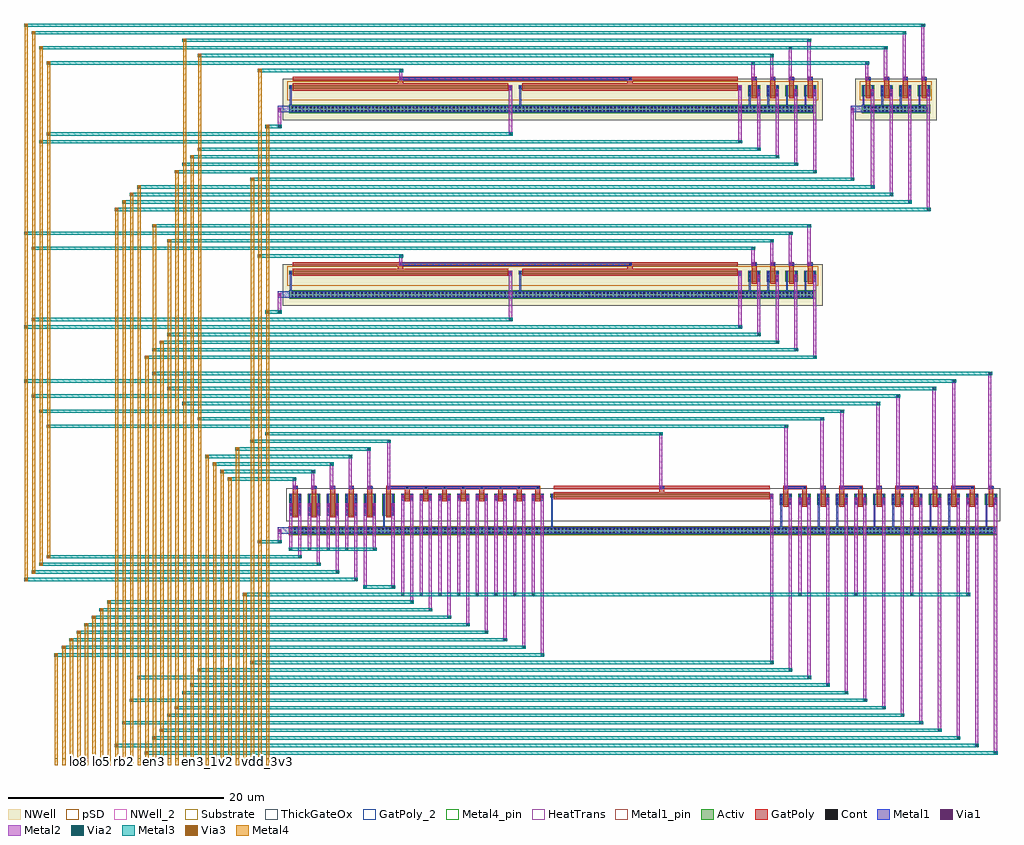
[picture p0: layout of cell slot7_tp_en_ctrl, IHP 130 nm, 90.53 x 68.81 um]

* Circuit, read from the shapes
.subckt slot7_tp_en_ctrl en0 en0_1v2 en0_b en1 en1_1v2 en1_b en2 en2_1v2 en2_b en3 en3_1v2 en3_b enable lo10 lo11 lo4 lo5 lo6 lo7 lo8 lo9 rb0 rb1 rb2 rb3 vdd_1v2 vdd_3v3 vss_1v2 vss_3v3
XM1 n1 en0_1v2 n2 vss_3v3 sg13_hv_nmos w=2u l=0.45u
XM2 n3 en1_1v2 n2 vss_3v3 sg13_hv_nmos w=2u l=0.45u
XM3 n4 en2_1v2 n2 vss_3v3 sg13_hv_nmos w=2u l=0.45u
XM4 n5 en3_1v2 n2 vss_3v3 sg13_hv_nmos w=2u l=0.45u
XM5 n2 enable n6 vss_3v3 sg13_hv_nmos w=2u l=0.45u
XM6 n6 vdd_1v2 vss_3v3 vss_3v3 sg13_hv_nmos w=2u l=0.45u
XM7 lo4 vdd_1v2 vss_1v2 vss_3v3 sg13_hv_nmos w=0.5u l=0.45u
XM8 lo5 vdd_1v2 vss_1v2 vss_3v3 sg13_hv_nmos w=0.5u l=0.45u
XM9 lo6 vdd_1v2 vss_1v2 vss_3v3 sg13_hv_nmos w=0.5u l=0.45u
XM10 lo7 vdd_1v2 vss_1v2 vss_3v3 sg13_hv_nmos w=0.5u l=0.45u
XM11 lo8 vdd_1v2 vss_1v2 vss_3v3 sg13_hv_nmos w=0.5u l=0.45u
XM12 lo9 vdd_1v2 vss_1v2 vss_3v3 sg13_hv_nmos w=0.5u l=0.45u
XM13 lo10 vdd_1v2 vss_1v2 vss_3v3 sg13_hv_nmos w=0.5u l=0.45u
XM14 lo11 vdd_1v2 vss_1v2 vss_3v3 sg13_hv_nmos w=0.5u l=0.45u
XM15 vdd_1v2 vdd_3v3 vss_3v3 vss_3v3 sg13_hv_nmos w=0.3u l=20u
XM16 en0 n1 vss_3v3 vss_3v3 sg13_hv_nmos w=1u l=0.45u
XM17 rb0 n1 vss_1v2 vss_3v3 sg13_hv_nmos w=1u l=0.45u
XM18 en0_b en0 vss_3v3 vss_3v3 sg13_hv_nmos w=1u l=0.45u
XM19 en1 n3 vss_3v3 vss_3v3 sg13_hv_nmos w=1u l=0.45u
XM20 rb1 n3 vss_1v2 vss_3v3 sg13_hv_nmos w=1u l=0.45u
XM21 en1_b en1 vss_3v3 vss_3v3 sg13_hv_nmos w=1u l=0.45u
XM22 en2 n4 vss_3v3 vss_3v3 sg13_hv_nmos w=1u l=0.45u
XM23 rb2 n4 vss_1v2 vss_3v3 sg13_hv_nmos w=1u l=0.45u
XM24 en2_b en2 vss_3v3 vss_3v3 sg13_hv_nmos w=1u l=0.45u
XM25 en3 n5 vss_3v3 vss_3v3 sg13_hv_nmos w=1u l=0.45u
XM26 rb3 n5 vss_1v2 vss_3v3 sg13_hv_nmos w=1u l=0.45u
XM27 en3_b en3 vss_3v3 vss_3v3 sg13_hv_nmos w=1u l=0.45u
XM28 n4 vss_3v3 vdd_3v3 vdd_3v3 sg13_hv_pmos w=0.3u l=20u
XM29 n1 vss_3v3 vdd_3v3 vdd_3v3 sg13_hv_pmos w=0.3u l=20u
XM30 n5 vss_3v3 vdd_3v3 vdd_3v3 sg13_hv_pmos w=0.3u l=20u
XM31 n3 vss_3v3 vdd_3v3 vdd_3v3 sg13_hv_pmos w=0.3u l=20u
XM32 en2 n4 vdd_3v3 vdd_3v3 sg13_hv_pmos w=1u l=0.45u
XM33 en0 n1 vdd_3v3 vdd_3v3 sg13_hv_pmos w=1u l=0.45u
XM34 en2_b en2 vdd_3v3 vdd_3v3 sg13_hv_pmos w=1u l=0.45u
XM35 en0_b en0 vdd_3v3 vdd_3v3 sg13_hv_pmos w=1u l=0.45u
XM36 en3 n5 vdd_3v3 vdd_3v3 sg13_hv_pmos w=1u l=0.45u
XM37 en1 n3 vdd_3v3 vdd_3v3 sg13_hv_pmos w=1u l=0.45u
XM38 en3_b en3 vdd_3v3 vdd_3v3 sg13_hv_pmos w=1u l=0.45u
XM39 en1_b en1 vdd_3v3 vdd_3v3 sg13_hv_pmos w=1u l=0.45u
XM40 rb0 n1 vdd_1v2 vdd_1v2 sg13_hv_pmos w=1u l=0.45u
XM41 rb1 n3 vdd_1v2 vdd_1v2 sg13_hv_pmos w=1u l=0.45u
XM42 rb2 n4 vdd_1v2 vdd_1v2 sg13_hv_pmos w=1u l=0.45u
XM43 rb3 n5 vdd_1v2 vdd_1v2 sg13_hv_pmos w=1u l=0.45u
.ends

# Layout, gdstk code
import gdstk
lib = gdstk.Library(unit=1e-6, precision=1e-09)
def R(c, l, rs):  # rectangles x0, y0, x1, y1
    for r in rs: c.add(gdstk.rectangle(r[:2], r[2:], *l))
def A(c, l, x, y, w, h, nx, ny, dx, dy):  # array of equal rectangles
    R(c, l, [(x+i*dx, y+j*dy, x+i*dx+w, y+j*dy+h) for i in range(nx) for j in range(ny)])
Activ = (1, 0)
GatPoly = (5, 0)
GatPoly_2 = (5, 2)
Cont = (6, 0)
Metal1 = (8, 0)
Metal1_pin = (8, 2)
Metal2 = (10, 0)
pSD = (14, 0)
Via1 = (19, 0)
Via2 = (29, 0)
Metal3 = (30, 0)
NWell = (31, 0)
NWell_2 = (31, 2)
Substrate = (40, 0)
ThickGateOx = (44, 0)
Via3 = (49, 0)
Metal4 = (50, 0)
Metal4_pin = (50, 2)
HeatTrans = (51, 0)

slot7_pmoshv = lib.new_cell('slot7_pmosHV')
R(slot7_pmoshv, Activ, [(0,0,0.3,0.3), (0,0,20.68,0.3), (20.38,0,20.68,0.3)])
R(slot7_pmoshv, GatPoly, [(0.34,-0.18,20.34,0.48)])
R(slot7_pmoshv, GatPoly_2, [(0.34,-0.18,20.34,0.48)])
R(slot7_pmoshv, Cont, [(0.07,0.07,0.23,0.23), (20.45,0.07,20.61,0.23)])
R(slot7_pmoshv, Metal1, [(0.07,0,0.23,0.3), (20.45,0,20.61,0.3)])
R(slot7_pmoshv, Metal1_pin, [(0.07,0,0.23,0.3), (20.45,0,20.61,0.3)])
R(slot7_pmoshv, pSD, [(-0.18,-0.4,20.86,0.7)])
R(slot7_pmoshv, NWell, [(-0.62,-0.62,21.3,0.92)])
R(slot7_pmoshv, ThickGateOx, [(-0.62,-0.62,21.3,0.92)])
R(slot7_pmoshv, HeatTrans, [(0.34,-0.18,20.34,0.48)])
slot7_pmoshv.add(gdstk.Label('pmosHV', (10.34,0.15), layer=63, texttype=0))
slot7_pmoshv.add(gdstk.Label('pmos', (10.34,0.15), layer=51, texttype=0))

slot7_pmoshv_1 = lib.new_cell('slot7_pmosHV_1')
R(slot7_pmoshv_1, Activ, [(0,0,0.3,0.3), (0,0,1.13,1), (0.83,0,1.13,0.3)])
R(slot7_pmoshv_1, GatPoly, [(0.34,-0.18,0.79,1.18)])
R(slot7_pmoshv_1, GatPoly_2, [(0.34,-0.18,0.79,1.18)])
A(slot7_pmoshv_1, Cont, 0.07, 0.07, 0.16, 0.16, 1, 3, 0, 0.35)
A(slot7_pmoshv_1, Cont, 0.9, 0.07, 0.16, 0.16, 1, 3, 0, 0.35)
R(slot7_pmoshv_1, Metal1, [(0.07,0,0.23,1), (0.9,0,1.06,1)])
R(slot7_pmoshv_1, Metal1_pin, [(0.07,0,0.23,1), (0.9,0,1.06,1)])
R(slot7_pmoshv_1, pSD, [(-0.18,-0.4,1.31,1.4)])
R(slot7_pmoshv_1, NWell, [(-0.62,-0.62,1.75,1.62)])
R(slot7_pmoshv_1, ThickGateOx, [(-0.62,-0.62,1.75,1.62)])
R(slot7_pmoshv_1, HeatTrans, [(0.34,-0.18,0.79,1.18)])
slot7_pmoshv_1.add(gdstk.Label('pmosHV', (0.565,0.5), layer=63, texttype=0))
slot7_pmoshv_1.add(gdstk.Label('pmos', (0.565,0.5), layer=51, texttype=0))

slot7_ntap1 = lib.new_cell('slot7_ntap1')
R(slot7_ntap1, Activ, [(0,0,48.88,0.78)])
A(slot7_ntap1, Cont, 0.22, 0.14, 0.16, 0.16, 143, 2, 0.34, 0.34)
R(slot7_ntap1, Metal1, [(0.22,0.09,48.66,0.69)])
R(slot7_ntap1, Metal1_pin, [(0.22,0.09,48.66,0.69), (0.22,0.14,48.66,0.64)])
R(slot7_ntap1, NWell, [(-0.24,-0.24,49.12,1.02), (0,0,48.88,0.78)])
R(slot7_ntap1, NWell_2, [(0,0,48.88,0.78)])
slot7_ntap1.add(gdstk.Label('well', (24.44,0.01), layer=31, texttype=0))
slot7_ntap1.add(gdstk.Label('well', (24.44,0.01), layer=63, texttype=0))

slot7_tp_row_pa = lib.new_cell('slot7_tp_row_pa')
A(slot7_tp_row_pa, GatPoly, 42.9, 1, 0.45, 0.43, 4, 1, 1.73, 0)
A(slot7_tp_row_pa, GatPoly, 42.9, 1.42, 0.45, 0.36, 4, 1, 1.73, 0)
R(slot7_tp_row_pa, GatPoly, [(10.09,1,10.59,1.43), (31.37,1,31.87,1.43), (0.34,1.42,41.62,1.78)])
A(slot7_tp_row_pa, Cont, 43.045, 1.52, 0.16, 0.16, 4, 1, 1.73, 0)
R(slot7_tp_row_pa, Cont, [(10.26,1.52,10.42,1.68), (31.54,1.52,31.7,1.68)])
A(slot7_tp_row_pa, Metal1, 42.63, -1.01, 0.16, 1.06, 4, 1, 1.73, 0)
A(slot7_tp_row_pa, Metal1, 42.875, 1.47, 0.5, 0.26, 4, 1, 1.73, 0)
R(slot7_tp_row_pa, Metal1, [(0.07,-1.51,47.98,-0.91), (0.07,-1.01,0.23,0.75), (21.35,-1.01,21.51,0.75), (0.07,0.55,0.23,1), (20.45,0.55,20.61,1), (21.35,0.55,21.51,1), (41.73,0.55,41.89,1), (10.21,1.47,31.75,1.73)])
R(slot7_tp_row_pa, pSD, [(-0.18,-0.4,49.06,1.4)])
R(slot7_tp_row_pa, NWell, [(-0.62,-2.22,49.5,1.62)])
R(slot7_tp_row_pa, ThickGateOx, [(-0.62,-2.22,49.5,1.62)])
slot7_tp_row_pa.add(gdstk.Reference(slot7_pmoshv, (0,0.7)))
slot7_tp_row_pa.add(gdstk.Reference(slot7_pmoshv, (21.28,0.7)))
slot7_tp_row_pa.add(gdstk.Reference(slot7_pmoshv_1, (42.56,0)))
slot7_tp_row_pa.add(gdstk.Reference(slot7_pmoshv_1, (44.29,0)))
slot7_tp_row_pa.add(gdstk.Reference(slot7_pmoshv_1, (46.02,0)))
slot7_tp_row_pa.add(gdstk.Reference(slot7_pmoshv_1, (47.75,0)))
slot7_tp_row_pa.add(gdstk.Reference(slot7_ntap1, (0,-1.6)))
slot7_tp_row_pa.add(gdstk.Label('PU0', (0,0.85), layer=63, texttype=0))
slot7_tp_row_pa.add(gdstk.Label('PU1', (21.28,0.85), layer=63, texttype=0))
slot7_tp_row_pa.add(gdstk.Label('PA0', (42.56,0.5), layer=63, texttype=0))
slot7_tp_row_pa.add(gdstk.Label('PB0', (44.29,0.5), layer=63, texttype=0))
slot7_tp_row_pa.add(gdstk.Label('PA1', (46.02,0.5), layer=63, texttype=0))
slot7_tp_row_pa.add(gdstk.Label('PB1', (47.75,0.5), layer=63, texttype=0))

slot7_ntap1_1 = lib.new_cell('slot7_ntap1_1')
R(slot7_ntap1_1, Activ, [(0,0,6.32,0.78)])
A(slot7_ntap1_1, Cont, 0.19, 0.14, 0.16, 0.16, 18, 2, 0.34, 0.34)
R(slot7_ntap1_1, Metal1, [(0.19,0.09,6.13,0.69)])
R(slot7_ntap1_1, Metal1_pin, [(0.19,0.09,6.13,0.69), (0.19,0.14,6.13,0.64)])
R(slot7_ntap1_1, NWell, [(-0.24,-0.24,6.56,1.02), (0,0,6.32,0.78)])
R(slot7_ntap1_1, NWell_2, [(0,0,6.32,0.78)])
slot7_ntap1_1.add(gdstk.Label('well', (3.16,0.01), layer=31, texttype=0))
slot7_ntap1_1.add(gdstk.Label('well', (3.16,0.01), layer=63, texttype=0))

slot7_tp_row_pr = lib.new_cell('slot7_tp_row_pr')
A(slot7_tp_row_pr, GatPoly, 0.34, 1, 0.45, 0.43, 4, 1, 1.73, 0)
A(slot7_tp_row_pr, GatPoly, 0.34, 1.42, 0.45, 0.36, 4, 1, 1.73, 0)
A(slot7_tp_row_pr, Cont, 0.485, 1.52, 0.16, 0.16, 4, 1, 1.73, 0)
A(slot7_tp_row_pr, Metal1, 0.07, -1.01, 0.16, 1.06, 4, 1, 1.73, 0)
A(slot7_tp_row_pr, Metal1, 0.315, 1.47, 0.5, 0.26, 4, 1, 1.73, 0)
R(slot7_tp_row_pr, Metal1, [(0.07,-1.51,5.42,-0.91)])
R(slot7_tp_row_pr, pSD, [(-0.18,-0.4,6.5,1.4)])
R(slot7_tp_row_pr, NWell, [(-0.62,-2.22,6.94,1.62)])
R(slot7_tp_row_pr, ThickGateOx, [(-0.62,-2.22,6.94,1.62)])
slot7_tp_row_pr.add(gdstk.Reference(slot7_pmoshv_1, (0,0)))
slot7_tp_row_pr.add(gdstk.Reference(slot7_pmoshv_1, (1.73,0)))
slot7_tp_row_pr.add(gdstk.Reference(slot7_pmoshv_1, (3.46,0)))
slot7_tp_row_pr.add(gdstk.Reference(slot7_pmoshv_1, (5.19,0)))
slot7_tp_row_pr.add(gdstk.Reference(slot7_ntap1_1, (0,-1.6)))
slot7_tp_row_pr.add(gdstk.Label('PR0', (0,0.5), layer=63, texttype=0))
slot7_tp_row_pr.add(gdstk.Label('PR1', (1.73,0.5), layer=63, texttype=0))
slot7_tp_row_pr.add(gdstk.Label('PR2', (3.46,0.5), layer=63, texttype=0))
slot7_tp_row_pr.add(gdstk.Label('PR3', (5.19,0.5), layer=63, texttype=0))

slot7_tp_row_pb = lib.new_cell('slot7_tp_row_pb')
A(slot7_tp_row_pb, GatPoly, 42.9, 1, 0.45, 0.43, 4, 1, 1.73, 0)
A(slot7_tp_row_pb, GatPoly, 42.9, 1.42, 0.45, 0.36, 4, 1, 1.73, 0)
R(slot7_tp_row_pb, GatPoly, [(10.09,1,10.59,1.43), (31.37,1,31.87,1.43), (0.34,1.42,41.62,1.78)])
A(slot7_tp_row_pb, Cont, 43.045, 1.52, 0.16, 0.16, 4, 1, 1.73, 0)
R(slot7_tp_row_pb, Cont, [(10.26,1.52,10.42,1.68), (31.54,1.52,31.7,1.68)])
A(slot7_tp_row_pb, Metal1, 42.63, -1.01, 0.16, 1.06, 4, 1, 1.73, 0)
A(slot7_tp_row_pb, Metal1, 42.875, 1.47, 0.5, 0.26, 4, 1, 1.73, 0)
R(slot7_tp_row_pb, Metal1, [(0.07,-1.51,47.98,-0.91), (0.07,-1.01,0.23,0.75), (21.35,-1.01,21.51,0.75), (0.07,0.55,0.23,1), (20.45,0.55,20.61,1), (21.35,0.55,21.51,1), (41.73,0.55,41.89,1), (10.21,1.47,31.75,1.73)])
R(slot7_tp_row_pb, pSD, [(-0.18,-0.4,49.06,1.4)])
R(slot7_tp_row_pb, NWell, [(-0.62,-2.22,49.5,1.62)])
R(slot7_tp_row_pb, ThickGateOx, [(-0.62,-2.22,49.5,1.62)])
slot7_tp_row_pb.add(gdstk.Reference(slot7_pmoshv, (0,0.7)))
slot7_tp_row_pb.add(gdstk.Reference(slot7_pmoshv, (21.28,0.7)))
slot7_tp_row_pb.add(gdstk.Reference(slot7_pmoshv_1, (42.56,0)))
slot7_tp_row_pb.add(gdstk.Reference(slot7_pmoshv_1, (44.29,0)))
slot7_tp_row_pb.add(gdstk.Reference(slot7_pmoshv_1, (46.02,0)))
slot7_tp_row_pb.add(gdstk.Reference(slot7_pmoshv_1, (47.75,0)))
slot7_tp_row_pb.add(gdstk.Reference(slot7_ntap1, (0,-1.6)))
slot7_tp_row_pb.add(gdstk.Label('PU2', (0,0.85), layer=63, texttype=0))
slot7_tp_row_pb.add(gdstk.Label('PU3', (21.28,0.85), layer=63, texttype=0))
slot7_tp_row_pb.add(gdstk.Label('PA2', (42.56,0.5), layer=63, texttype=0))
slot7_tp_row_pb.add(gdstk.Label('PB2', (44.29,0.5), layer=63, texttype=0))
slot7_tp_row_pb.add(gdstk.Label('PA3', (46.02,0.5), layer=63, texttype=0))
slot7_tp_row_pb.add(gdstk.Label('PB3', (47.75,0.5), layer=63, texttype=0))

slot7_nmoshv = lib.new_cell('slot7_nmosHV')
R(slot7_nmoshv, Activ, [(0,0,0.3,0.3), (0,0,1.13,2), (0.83,0,1.13,0.3)])
R(slot7_nmoshv, GatPoly, [(0.34,-0.18,0.79,2.18)])
R(slot7_nmoshv, GatPoly_2, [(0.34,-0.18,0.79,2.18)])
A(slot7_nmoshv, Cont, 0.07, 0.07, 0.16, 0.16, 1, 6, 0, 0.34)
A(slot7_nmoshv, Cont, 0.9, 0.07, 0.16, 0.16, 1, 6, 0, 0.34)
R(slot7_nmoshv, Metal1, [(0.07,0,0.23,2), (0.9,0,1.06,2)])
R(slot7_nmoshv, Metal1_pin, [(0.07,0,0.23,2), (0.9,0,1.06,2)])
R(slot7_nmoshv, ThickGateOx, [(-0.27,-0.52,1.4,2.52)])
R(slot7_nmoshv, HeatTrans, [(0.34,-0.18,0.79,2.18)])
slot7_nmoshv.add(gdstk.Label('nmosHV', (0.565,1), layer=63, texttype=0))
slot7_nmoshv.add(gdstk.Label('nmosHV', (0.565,1), layer=51, texttype=0))

slot7_nmoshv_1 = lib.new_cell('slot7_nmosHV_1')
R(slot7_nmoshv_1, Activ, [(0,0,0.3,0.3), (0,0,1.13,0.5), (0.83,0,1.13,0.3)])
R(slot7_nmoshv_1, GatPoly, [(0.34,-0.18,0.79,0.68)])
R(slot7_nmoshv_1, GatPoly_2, [(0.34,-0.18,0.79,0.68)])
R(slot7_nmoshv_1, Cont, [(0.07,0.17,0.23,0.33), (0.9,0.17,1.06,0.33)])
R(slot7_nmoshv_1, Metal1, [(0.07,0,0.23,0.5), (0.9,0,1.06,0.5)])
R(slot7_nmoshv_1, Metal1_pin, [(0.07,0,0.23,0.5), (0.9,0,1.06,0.5)])
R(slot7_nmoshv_1, ThickGateOx, [(-0.27,-0.52,1.4,1.02)])
R(slot7_nmoshv_1, HeatTrans, [(0.34,-0.18,0.79,0.68)])
slot7_nmoshv_1.add(gdstk.Label('nmosHV', (0.565,0.25), layer=63, texttype=0))
slot7_nmoshv_1.add(gdstk.Label('nmosHV', (0.565,0.25), layer=51, texttype=0))

slot7_nmoshv_2 = lib.new_cell('slot7_nmosHV_2')
R(slot7_nmoshv_2, Activ, [(0,0,0.3,0.3), (0,0,20.68,0.3), (20.38,0,20.68,0.3)])
R(slot7_nmoshv_2, GatPoly, [(0.34,-0.18,20.34,0.48)])
R(slot7_nmoshv_2, GatPoly_2, [(0.34,-0.18,20.34,0.48)])
R(slot7_nmoshv_2, Cont, [(0.07,0.07,0.23,0.23), (20.45,0.07,20.61,0.23)])
R(slot7_nmoshv_2, Metal1, [(0.07,0,0.23,0.3), (20.45,0,20.61,0.3)])
R(slot7_nmoshv_2, Metal1_pin, [(0.07,0,0.23,0.3), (20.45,0,20.61,0.3)])
R(slot7_nmoshv_2, ThickGateOx, [(-0.27,-0.52,20.95,0.82)])
R(slot7_nmoshv_2, HeatTrans, [(0.34,-0.18,20.34,0.48)])
slot7_nmoshv_2.add(gdstk.Label('nmosHV', (10.34,0.15), layer=63, texttype=0))
slot7_nmoshv_2.add(gdstk.Label('nmosHV', (10.34,0.15), layer=51, texttype=0))

slot7_nmoshv_3 = lib.new_cell('slot7_nmosHV_3')
R(slot7_nmoshv_3, Activ, [(0,0,0.3,0.3), (0,0,1.13,1), (0.83,0,1.13,0.3)])
R(slot7_nmoshv_3, GatPoly, [(0.34,-0.18,0.79,1.18)])
R(slot7_nmoshv_3, GatPoly_2, [(0.34,-0.18,0.79,1.18)])
A(slot7_nmoshv_3, Cont, 0.07, 0.07, 0.16, 0.16, 1, 3, 0, 0.35)
A(slot7_nmoshv_3, Cont, 0.9, 0.07, 0.16, 0.16, 1, 3, 0, 0.35)
R(slot7_nmoshv_3, Metal1, [(0.07,0,0.23,1), (0.9,0,1.06,1)])
R(slot7_nmoshv_3, Metal1_pin, [(0.07,0,0.23,1), (0.9,0,1.06,1)])
R(slot7_nmoshv_3, ThickGateOx, [(-0.27,-0.52,1.4,1.52)])
R(slot7_nmoshv_3, HeatTrans, [(0.34,-0.18,0.79,1.18)])
slot7_nmoshv_3.add(gdstk.Label('nmosHV', (0.565,0.5), layer=63, texttype=0))
slot7_nmoshv_3.add(gdstk.Label('nmosHV', (0.565,0.5), layer=51, texttype=0))

slot7_ptap1 = lib.new_cell('slot7_ptap1')
R(slot7_ptap1, Activ, [(0,0,65.66,0.78)])
A(slot7_ptap1, Cont, 0.11, 0.14, 0.16, 0.16, 193, 2, 0.34, 0.34)
R(slot7_ptap1, Metal1, [(0.11,0.09,65.55,0.69), (0.11,0.14,65.55,0.64)])
R(slot7_ptap1, Metal1_pin, [(0.11,0.14,65.55,0.64)])
R(slot7_ptap1, pSD, [(-0.03,-0.03,65.69,0.81)])
R(slot7_ptap1, Substrate, [(0,0,65.66,0.78)])
slot7_ptap1.add(gdstk.Label('sub!', (32.83,0.01), layer=63, texttype=0))

slot7_tp_row_n = lib.new_cell('slot7_tp_row_n')
A(slot7_tp_row_n, GatPoly, 0.34, 2, 0.45, 0.43, 14, 1, 1.73, 0)
A(slot7_tp_row_n, GatPoly, 45.84, 2, 0.45, 0.43, 12, 1, 1.73, 0)
A(slot7_tp_row_n, GatPoly, 0.34, 2.42, 0.45, 0.36, 5, 1, 1.73, 0)
A(slot7_tp_row_n, GatPoly, 45.84, 2.42, 2.18, 0.36, 4, 1, 5.19, 0)
A(slot7_tp_row_n, GatPoly, 49.3, 2.42, 0.45, 0.36, 4, 1, 5.19, 0)
R(slot7_tp_row_n, GatPoly, [(34.31,2,34.81,2.43), (8.99,2.42,23.28,2.78), (24.56,2.42,44.56,2.78)])
A(slot7_tp_row_n, Cont, 0.485, 2.52, 0.16, 0.16, 14, 1, 1.73, 0)
A(slot7_tp_row_n, Cont, 45.985, 2.52, 0.16, 0.16, 12, 1, 1.73, 0)
R(slot7_tp_row_n, Cont, [(34.48,2.52,34.64,2.68)])
A(slot7_tp_row_n, Metal1, 0.315, 2.47, 0.5, 0.26, 5, 1, 1.73, 0)
A(slot7_tp_row_n, Metal1, 45.935, 2.47, 1.99, 0.26, 4, 1, 5.19, 0)
A(slot7_tp_row_n, Metal1, 49.275, 2.47, 0.5, 0.26, 4, 1, 5.19, 0)
R(slot7_tp_row_n, Metal1, [(8.72,-1.71,64.76,-1.11), (8.72,-1.21,8.88,0.05), (24.29,-1.21,24.45,1.75), (45.57,-1.21,45.73,1.05), (49.03,-1.21,49.19,1.05), (50.76,-1.21,50.92,1.05), (54.22,-1.21,54.38,1.05), (55.95,-1.21,56.11,1.05), (59.41,-1.21,59.57,1.05), (61.14,-1.21,61.3,1.05), (64.6,-1.21,64.76,1.05), (10.45,1.35,10.61,2), (11.28,1.35,11.44,2), (12.18,1.35,12.34,2), (13.01,1.35,13.17,2), (13.91,1.35,14.07,2), (14.74,1.35,14.9,2), (15.64,1.35,15.8,2), (16.47,1.35,16.63,2), (17.37,1.35,17.53,2), (18.2,1.35,18.36,2), (19.1,1.35,19.26,2), (19.93,1.35,20.09,2), (20.83,1.35,20.99,2), (21.66,1.35,21.82,2), (22.56,1.35,22.72,2), (23.39,1.35,23.55,2), (24.29,1.55,24.45,2), (44.67,1.55,44.83,2), (9.085,2.47,23.185,2.73), (34.31,2.47,34.81,2.73)])
R(slot7_tp_row_n, ThickGateOx, [(-0.27,-0.52,65.93,2.52)])
slot7_tp_row_n.add(gdstk.Reference(slot7_nmoshv, (0,0)))
slot7_tp_row_n.add(gdstk.Reference(slot7_nmoshv, (1.73,0)))
slot7_tp_row_n.add(gdstk.Reference(slot7_nmoshv, (3.46,0)))
slot7_tp_row_n.add(gdstk.Reference(slot7_nmoshv, (5.19,0)))
slot7_tp_row_n.add(gdstk.Reference(slot7_nmoshv, (6.92,0)))
slot7_tp_row_n.add(gdstk.Reference(slot7_nmoshv, (8.65,0)))
slot7_tp_row_n.add(gdstk.Reference(slot7_nmoshv_1, (10.38,1.5)))
slot7_tp_row_n.add(gdstk.Reference(slot7_nmoshv_1, (12.11,1.5)))
slot7_tp_row_n.add(gdstk.Reference(slot7_nmoshv_1, (13.84,1.5)))
slot7_tp_row_n.add(gdstk.Reference(slot7_nmoshv_1, (15.57,1.5)))
slot7_tp_row_n.add(gdstk.Reference(slot7_nmoshv_1, (17.3,1.5)))
slot7_tp_row_n.add(gdstk.Reference(slot7_nmoshv_1, (19.03,1.5)))
slot7_tp_row_n.add(gdstk.Reference(slot7_nmoshv_1, (20.76,1.5)))
slot7_tp_row_n.add(gdstk.Reference(slot7_nmoshv_1, (22.49,1.5)))
slot7_tp_row_n.add(gdstk.Reference(slot7_nmoshv_2, (24.22,1.7)))
slot7_tp_row_n.add(gdstk.Reference(slot7_nmoshv_3, (45.5,1)))
slot7_tp_row_n.add(gdstk.Reference(slot7_nmoshv_3, (47.23,1)))
slot7_tp_row_n.add(gdstk.Reference(slot7_nmoshv_3, (48.96,1)))
slot7_tp_row_n.add(gdstk.Reference(slot7_nmoshv_3, (50.69,1)))
slot7_tp_row_n.add(gdstk.Reference(slot7_nmoshv_3, (52.42,1)))
slot7_tp_row_n.add(gdstk.Reference(slot7_nmoshv_3, (54.15,1)))
slot7_tp_row_n.add(gdstk.Reference(slot7_nmoshv_3, (55.88,1)))
slot7_tp_row_n.add(gdstk.Reference(slot7_nmoshv_3, (57.61,1)))
slot7_tp_row_n.add(gdstk.Reference(slot7_nmoshv_3, (59.34,1)))
slot7_tp_row_n.add(gdstk.Reference(slot7_nmoshv_3, (61.07,1)))
slot7_tp_row_n.add(gdstk.Reference(slot7_nmoshv_3, (62.8,1)))
slot7_tp_row_n.add(gdstk.Reference(slot7_nmoshv_3, (64.53,1)))
slot7_tp_row_n.add(gdstk.Reference(slot7_ptap1, (0,-1.8)))
slot7_tp_row_n.add(gdstk.Label('NI0', (0,1), layer=63, texttype=0))
slot7_tp_row_n.add(gdstk.Label('NI1', (1.73,1), layer=63, texttype=0))
slot7_tp_row_n.add(gdstk.Label('NI2', (3.46,1), layer=63, texttype=0))
slot7_tp_row_n.add(gdstk.Label('NI3', (5.19,1), layer=63, texttype=0))
slot7_tp_row_n.add(gdstk.Label('NE', (6.92,1), layer=63, texttype=0))
slot7_tp_row_n.add(gdstk.Label('NV', (8.65,1), layer=63, texttype=0))
slot7_tp_row_n.add(gdstk.Label('NL4', (10.38,1.75), layer=63, texttype=0))
slot7_tp_row_n.add(gdstk.Label('NL5', (12.11,1.75), layer=63, texttype=0))
slot7_tp_row_n.add(gdstk.Label('NL6', (13.84,1.75), layer=63, texttype=0))
slot7_tp_row_n.add(gdstk.Label('NL7', (15.57,1.75), layer=63, texttype=0))
slot7_tp_row_n.add(gdstk.Label('NL8', (17.3,1.75), layer=63, texttype=0))
slot7_tp_row_n.add(gdstk.Label('NL9', (19.03,1.75), layer=63, texttype=0))
slot7_tp_row_n.add(gdstk.Label('NL10', (20.76,1.75), layer=63, texttype=0))
slot7_tp_row_n.add(gdstk.Label('NL11', (22.49,1.75), layer=63, texttype=0))
slot7_tp_row_n.add(gdstk.Label('NRD', (24.22,1.85), layer=63, texttype=0))
slot7_tp_row_n.add(gdstk.Label('NA0', (45.5,1.5), layer=63, texttype=0))
slot7_tp_row_n.add(gdstk.Label('NR0', (47.23,1.5), layer=63, texttype=0))
slot7_tp_row_n.add(gdstk.Label('NB0', (48.96,1.5), layer=63, texttype=0))
slot7_tp_row_n.add(gdstk.Label('NA1', (50.69,1.5), layer=63, texttype=0))
slot7_tp_row_n.add(gdstk.Label('NR1', (52.42,1.5), layer=63, texttype=0))
slot7_tp_row_n.add(gdstk.Label('NB1', (54.15,1.5), layer=63, texttype=0))
slot7_tp_row_n.add(gdstk.Label('NA2', (55.88,1.5), layer=63, texttype=0))
slot7_tp_row_n.add(gdstk.Label('NR2', (57.61,1.5), layer=63, texttype=0))
slot7_tp_row_n.add(gdstk.Label('NB2', (59.34,1.5), layer=63, texttype=0))
slot7_tp_row_n.add(gdstk.Label('NA3', (61.07,1.5), layer=63, texttype=0))
slot7_tp_row_n.add(gdstk.Label('NR3', (62.8,1.5), layer=63, texttype=0))
slot7_tp_row_n.add(gdstk.Label('NB3', (64.53,1.5), layer=63, texttype=0))

slot7_tp_en_ctrl = lib.new_cell('slot7_tp_en_ctrl')
A(slot7_tp_en_ctrl, Metal1, 48.065, -44.125, 0.29, 0.29, 3, 1, 1.73, 0)
A(slot7_tp_en_ctrl, Metal1, 53.255, -44.125, 0.29, 0.29, 3, 1, 1.73, 0)
A(slot7_tp_en_ctrl, Metal1, 58.445, -44.125, 0.29, 0.29, 3, 1, 1.73, 0)
A(slot7_tp_en_ctrl, Metal1, 0.32, -43.025, 0.29, 0.29, 5, 1, 1.73, 0)
A(slot7_tp_en_ctrl, Metal1, 43.395, -23.425, 0.29, 0.29, 4, 2, 1.73, 17.2)
A(slot7_tp_en_ctrl, Metal1, 42.88, -22.325, 0.29, 0.29, 4, 2, 1.73, 17.2)
A(slot7_tp_en_ctrl, Metal1, 53.955, -6.225, 0.29, 0.29, 4, 1, 1.73, 0)
A(slot7_tp_en_ctrl, Metal1, 53.44, -5.125, 0.29, 0.29, 4, 1, 1.73, 0)
R(slot7_tp_en_ctrl, Metal1, [(-1.045,-47.19,0.2,-46.59), (-1.045,-47.035,-0.755,-46.745), (0.005,-44.625,0.295,-44.335), (0.835,-44.625,1.125,-44.335), (1.735,-44.625,2.025,-44.335), (2.565,-44.625,2.855,-44.335), (3.465,-44.625,3.755,-44.335), (4.295,-44.625,4.585,-44.335), (5.195,-44.625,5.485,-44.335), (6.025,-44.625,6.315,-44.335), (6.925,-44.625,7.215,-44.335), (7.755,-44.625,8.045,-44.335), (9.485,-44.625,9.775,-44.335), (46.335,-44.125,46.625,-43.835), (47.235,-44.125,47.525,-43.835), (52.425,-44.125,52.715,-43.835), (57.615,-44.125,57.905,-43.835), (62.805,-44.125,63.095,-43.835), (63.635,-44.125,63.925,-43.835), (65.365,-44.125,65.655,-43.835), (10.385,-43.875,10.675,-43.585), (11.215,-43.875,11.505,-43.585), (12.115,-43.875,12.405,-43.585), (12.945,-43.875,13.235,-43.585), (13.845,-43.875,14.135,-43.585), (14.675,-43.875,14.965,-43.585), (15.575,-43.875,15.865,-43.585), (16.405,-43.875,16.695,-43.585), (17.305,-43.875,17.595,-43.585), (18.135,-43.875,18.425,-43.585), (19.035,-43.875,19.325,-43.585), (19.865,-43.875,20.155,-43.585), (20.765,-43.875,21.055,-43.585), (21.595,-43.875,21.885,-43.585), (22.495,-43.875,22.785,-43.585), (23.325,-43.875,23.615,-43.585), (44.605,-43.775,44.895,-43.485), (9.09,-43.025,9.38,-42.735), (34.315,-43.025,34.605,-42.735), (45.94,-43.025,46.23,-42.735), (49.28,-43.025,49.57,-42.735), (51.13,-43.025,51.42,-42.735), (54.47,-43.025,54.76,-42.735), (56.32,-43.025,56.61,-42.735), (59.66,-43.025,59.95,-42.735), (61.51,-43.025,61.8,-42.735), (64.85,-43.025,65.14,-42.735), (-1.045,-25.29,0.2,-24.69), (-1.045,-25.135,-0.755,-24.845), (20.385,-23.075,20.675,-22.785), (41.665,-23.075,41.955,-22.785), (10.215,-22.325,10.505,-22.035), (-1.045,-8.09,0.2,-7.49), (52.075,-8.09,53.32,-7.49), (-1.045,-7.935,-0.755,-7.645), (52.075,-7.935,52.365,-7.645), (20.385,-5.875,20.675,-5.585), (41.665,-5.875,41.955,-5.585), (10.215,-5.125,10.505,-4.835)])
A(slot7_tp_en_ctrl, Metal2, 10.385, -52.955, 0.29, 9.37, 8, 1, 1.73, 0)
A(slot7_tp_en_ctrl, Metal2, 47.235, -52.955, 0.29, 9.12, 4, 1, 5.19, 0)
A(slot7_tp_en_ctrl, Metal2, 0.005, -48.755, 0.29, 4.42, 4, 1, 1.73, 0)
R(slot7_tp_en_ctrl, Metal2, [(65.365,-67.655,65.655,-43.835), (63.635,-66.955,63.925,-43.835), (61.905,-66.255,62.195,-43.835), (60.175,-65.555,60.465,-43.835), (58.445,-64.855,58.735,-43.835), (56.715,-64.155,57.005,-43.835), (54.985,-63.455,55.275,-43.835), (53.255,-62.755,53.545,-43.835), (51.525,-62.055,51.815,-43.835), (49.795,-61.355,50.085,-43.835), (48.065,-60.655,48.355,-43.835), (46.335,-59.955,46.625,-43.835), (44.605,-59.255,44.895,-43.485), (23.325,-58.555,23.615,-43.585), (21.595,-57.855,21.885,-43.585), (19.865,-57.155,20.155,-43.585), (18.135,-56.455,18.425,-43.585), (16.405,-55.755,16.695,-43.585), (14.675,-55.055,14.965,-43.585), (12.945,-54.355,13.235,-43.585), (11.215,-53.655,11.505,-43.585), (6.925,-52.255,7.215,-44.335), (9.485,-52.255,9.775,-44.335), (6.025,-51.555,6.315,-44.335), (4.295,-50.855,4.585,-44.335), (2.565,-50.155,2.855,-44.335), (0.835,-49.455,1.125,-44.335), (7.755,-48.755,8.045,-44.335), (-1.045,-48.055,-0.755,-46.745), (0.32,-43.025,0.61,-41.955), (2.05,-43.025,2.34,-41.255), (3.78,-43.025,4.07,-40.555), (5.51,-43.025,5.8,-39.855), (7.24,-43.025,7.53,-39.155), (9.09,-43.025,9.38,-38.455), (34.315,-43.025,34.605,-37.755), (45.94,-43.025,46.23,-37.055), (49.28,-43.025,49.57,-36.355), (51.13,-43.025,51.42,-35.655), (54.47,-43.025,54.76,-34.955), (56.32,-43.025,56.61,-34.255), (59.66,-43.025,59.95,-33.555), (61.51,-43.025,61.8,-32.855), (64.85,-43.025,65.14,-32.155), (48.585,-30.945,48.875,-23.135), (46.855,-30.245,47.145,-23.135), (45.125,-29.545,45.415,-23.135), (43.395,-28.845,43.685,-23.135), (41.665,-28.145,41.955,-22.785), (20.385,-27.445,20.675,-22.785), (-1.045,-26.745,-0.755,-24.845), (10.215,-22.325,10.505,-21.255), (42.88,-22.325,43.17,-20.555), (44.61,-22.325,44.9,-19.855), (46.34,-22.325,46.63,-19.155), (48.07,-22.325,48.36,-18.455), (59.145,-17.245,59.435,-5.935), (57.415,-16.545,57.705,-5.935), (55.685,-15.845,55.975,-5.935), (53.955,-15.145,54.245,-5.935), (52.075,-14.445,52.365,-7.645), (48.585,-13.745,48.875,-5.935), (46.855,-13.045,47.145,-5.935), (45.125,-12.345,45.415,-5.935), (43.395,-11.645,43.685,-5.935), (41.665,-10.945,41.955,-5.585), (20.385,-10.245,20.675,-5.585), (-1.045,-9.545,-0.755,-7.645), (10.215,-5.125,10.505,-4.055), (42.88,-5.125,43.17,-3.355), (44.61,-5.125,44.9,-2.655), (46.34,-5.125,46.63,-1.955), (48.07,-5.125,48.36,-1.255), (53.44,-5.125,53.73,-3.355), (55.17,-5.125,55.46,-1.955), (56.9,-5.125,57.19,-0.555), (58.63,-5.125,58.92,0.145)])
A(slot7_tp_en_ctrl, Via1, 48.115, -44.075, 0.19, 0.19, 3, 1, 1.73, 0)
A(slot7_tp_en_ctrl, Via1, 53.305, -44.075, 0.19, 0.19, 3, 1, 1.73, 0)
A(slot7_tp_en_ctrl, Via1, 58.495, -44.075, 0.19, 0.19, 3, 1, 1.73, 0)
A(slot7_tp_en_ctrl, Via1, 0.37, -42.975, 0.19, 0.19, 5, 1, 1.73, 0)
A(slot7_tp_en_ctrl, Via1, 43.445, -23.375, 0.19, 0.19, 4, 2, 1.73, 17.2)
A(slot7_tp_en_ctrl, Via1, 42.93, -22.275, 0.19, 0.19, 4, 2, 1.73, 17.2)
A(slot7_tp_en_ctrl, Via1, 54.005, -6.175, 0.19, 0.19, 4, 1, 1.73, 0)
A(slot7_tp_en_ctrl, Via1, 53.49, -5.075, 0.19, 0.19, 4, 1, 1.73, 0)
R(slot7_tp_en_ctrl, Via1, [(-0.995,-46.985,-0.805,-46.795), (0.055,-44.575,0.245,-44.385), (0.885,-44.575,1.075,-44.385), (1.785,-44.575,1.975,-44.385), (2.615,-44.575,2.805,-44.385), (3.515,-44.575,3.705,-44.385), (4.345,-44.575,4.535,-44.385), (5.245,-44.575,5.435,-44.385), (6.075,-44.575,6.265,-44.385), (6.975,-44.575,7.165,-44.385), (7.805,-44.575,7.995,-44.385), (9.535,-44.575,9.725,-44.385), (46.385,-44.075,46.575,-43.885), (47.285,-44.075,47.475,-43.885), (52.475,-44.075,52.665,-43.885), (57.665,-44.075,57.855,-43.885), (62.855,-44.075,63.045,-43.885), (63.685,-44.075,63.875,-43.885), (65.415,-44.075,65.605,-43.885), (10.435,-43.825,10.625,-43.635), (11.265,-43.825,11.455,-43.635), (12.165,-43.825,12.355,-43.635), (12.995,-43.825,13.185,-43.635), (13.895,-43.825,14.085,-43.635), (14.725,-43.825,14.915,-43.635), (15.625,-43.825,15.815,-43.635), (16.455,-43.825,16.645,-43.635), (17.355,-43.825,17.545,-43.635), (18.185,-43.825,18.375,-43.635), (19.085,-43.825,19.275,-43.635), (19.915,-43.825,20.105,-43.635), (20.815,-43.825,21.005,-43.635), (21.645,-43.825,21.835,-43.635), (22.545,-43.825,22.735,-43.635), (23.375,-43.825,23.565,-43.635), (44.655,-43.725,44.845,-43.535), (9.14,-42.975,9.33,-42.785), (34.365,-42.975,34.555,-42.785), (45.99,-42.975,46.18,-42.785), (49.33,-42.975,49.52,-42.785), (51.18,-42.975,51.37,-42.785), (54.52,-42.975,54.71,-42.785), (56.37,-42.975,56.56,-42.785), (59.71,-42.975,59.9,-42.785), (61.56,-42.975,61.75,-42.785), (64.9,-42.975,65.09,-42.785), (-0.995,-25.085,-0.805,-24.895), (20.435,-23.025,20.625,-22.835), (41.715,-23.025,41.905,-22.835), (10.265,-22.275,10.455,-22.085), (-0.995,-7.885,-0.805,-7.695), (52.125,-7.885,52.315,-7.695), (20.435,-5.825,20.625,-5.635), (41.715,-5.825,41.905,-5.635), (10.265,-5.075,10.455,-4.885)])
A(slot7_tp_en_ctrl, Via2, 10.435, -52.905, 0.19, 0.19, 8, 1, 1.73, 0)
A(slot7_tp_en_ctrl, Via2, 47.285, -52.905, 0.19, 0.19, 4, 1, 5.19, 0)
A(slot7_tp_en_ctrl, Via2, 0.055, -48.705, 0.19, 0.19, 4, 1, 1.73, 0)
R(slot7_tp_en_ctrl, Via2, [(65.415,-67.605,65.605,-67.415), (63.685,-66.905,63.875,-66.715), (61.955,-66.205,62.145,-66.015), (60.225,-65.505,60.415,-65.315), (58.495,-64.805,58.685,-64.615), (56.765,-64.105,56.955,-63.915), (55.035,-63.405,55.225,-63.215), (53.305,-62.705,53.495,-62.515), (51.575,-62.005,51.765,-61.815), (49.845,-61.305,50.035,-61.115), (48.115,-60.605,48.305,-60.415), (46.385,-59.905,46.575,-59.715), (44.655,-59.205,44.845,-59.015), (23.375,-58.505,23.565,-58.315), (21.645,-57.805,21.835,-57.615), (19.915,-57.105,20.105,-56.915), (18.185,-56.405,18.375,-56.215), (16.455,-55.705,16.645,-55.515), (14.725,-55.005,14.915,-54.815), (12.995,-54.305,13.185,-54.115), (11.265,-53.605,11.455,-53.415), (6.975,-52.205,7.165,-52.015), (9.535,-52.205,9.725,-52.015), (6.075,-51.505,6.265,-51.315), (4.345,-50.805,4.535,-50.615), (2.615,-50.105,2.805,-49.915), (0.885,-49.405,1.075,-49.215), (7.805,-48.705,7.995,-48.515), (-0.995,-48.005,-0.805,-47.815), (0.37,-42.195,0.56,-42.005), (2.1,-41.495,2.29,-41.305), (3.83,-40.795,4.02,-40.605), (5.56,-40.095,5.75,-39.905), (7.29,-39.395,7.48,-39.205), (9.14,-38.695,9.33,-38.505), (34.365,-37.995,34.555,-37.805), (45.99,-37.295,46.18,-37.105), (49.33,-36.595,49.52,-36.405), (51.18,-35.895,51.37,-35.705), (54.52,-35.195,54.71,-35.005), (56.37,-34.495,56.56,-34.305), (59.71,-33.795,59.9,-33.605), (61.56,-33.095,61.75,-32.905), (64.9,-32.395,65.09,-32.205), (48.635,-30.895,48.825,-30.705), (46.905,-30.195,47.095,-30.005), (45.175,-29.495,45.365,-29.305), (43.445,-28.795,43.635,-28.605), (41.715,-28.095,41.905,-27.905), (20.435,-27.395,20.625,-27.205), (-0.995,-26.695,-0.805,-26.505), (10.265,-21.495,10.455,-21.305), (42.93,-20.795,43.12,-20.605), (44.66,-20.095,44.85,-19.905), (46.39,-19.395,46.58,-19.205), (48.12,-18.695,48.31,-18.505), (59.195,-17.195,59.385,-17.005), (57.465,-16.495,57.655,-16.305), (55.735,-15.795,55.925,-15.605), (54.005,-15.095,54.195,-14.905), (52.125,-14.395,52.315,-14.205), (48.635,-13.695,48.825,-13.505), (46.905,-12.995,47.095,-12.805), (45.175,-12.295,45.365,-12.105), (43.445,-11.595,43.635,-11.405), (41.715,-10.895,41.905,-10.705), (20.435,-10.195,20.625,-10.005), (-0.995,-9.495,-0.805,-9.305), (10.265,-4.295,10.455,-4.105), (42.93,-3.595,43.12,-3.405), (53.49,-3.595,53.68,-3.405), (44.66,-2.895,44.85,-2.705), (46.39,-2.195,46.58,-2.005), (55.22,-2.195,55.41,-2.005), (48.12,-1.495,48.31,-1.305), (56.95,-0.795,57.14,-0.605), (58.68,-0.095,58.87,0.095)])
R(slot7_tp_en_ctrl, Metal3, [(-13.4,-67.66,65.71,-67.36), (-16.2,-66.96,63.98,-66.66), (-12.7,-66.26,62.25,-65.96), (-12,-65.56,60.52,-65.26), (-15.5,-64.86,58.79,-64.56), (-11.3,-64.16,57.06,-63.86), (-10.6,-63.46,55.33,-63.16), (-14.8,-62.76,53.6,-62.46), (-9.9,-62.06,51.87,-61.76), (-9.2,-61.36,50.14,-61.06), (-14.1,-60.66,48.41,-60.36), (-8.5,-59.96,46.68,-59.66), (-3.6,-59.26,44.95,-58.96), (-21.8,-58.56,23.67,-58.26), (-21.1,-57.86,21.94,-57.56), (-20.4,-57.16,20.21,-56.86), (-19.7,-56.46,18.48,-56.16), (-19,-55.76,16.75,-55.46), (-18.3,-55.06,15.02,-54.76), (-17.6,-54.36,13.29,-54.06), (-16.9,-53.66,11.56,-53.36), (-4.3,-52.96,63.15,-52.66), (6.87,-52.26,9.83,-51.96), (-24.6,-51.56,6.37,-51.26), (-23.9,-50.86,4.64,-50.56), (-23.2,-50.16,2.91,-49.86), (-22.5,-49.46,1.18,-49.16), (-0.05,-48.76,8.1,-48.46), (-2.9,-48.06,-0.7,-47.76), (-5.7,-42.25,0.665,-41.95), (-6.4,-41.55,2.395,-41.25), (-7.1,-40.85,4.125,-40.55), (-7.8,-40.15,5.855,-39.85), (-5,-39.45,7.585,-39.15), (-3.6,-38.75,9.435,-38.45), (-2.2,-38.05,34.66,-37.75), (-22.5,-37.35,46.285,-37.05), (-8.5,-36.65,49.625,-36.35), (-23.2,-35.95,51.475,-35.65), (-9.9,-35.25,54.815,-34.95), (-23.9,-34.55,56.665,-34.25), (-11.3,-33.85,60.005,-33.55), (-24.6,-33.15,61.855,-32.85), (-12.7,-32.45,65.195,-32.15), (-13.4,-30.95,48.93,-30.65), (-12.7,-30.25,47.2,-29.95), (-12,-29.55,45.47,-29.25), (-11.3,-28.85,43.74,-28.55), (-24.6,-28.15,42.01,-27.85), (-23.9,-27.45,20.73,-27.15), (-2.2,-26.75,-0.7,-26.45), (-2.9,-21.55,10.56,-21.25), (-23.9,-20.85,43.225,-20.55), (-11.3,-20.15,44.955,-19.85), (-24.6,-19.45,46.685,-19.15), (-12.7,-18.75,48.415,-18.45), (-16.2,-17.25,59.49,-16.95), (-15.5,-16.55,57.76,-16.25), (-14.8,-15.85,56.03,-15.55), (-14.1,-15.15,54.3,-14.85), (-3.6,-14.45,52.42,-14.15), (-10.6,-13.75,48.93,-13.45), (-9.9,-13.05,47.2,-12.75), (-9.2,-12.35,45.47,-12.05), (-8.5,-11.65,43.74,-11.35), (-23.2,-10.95,42.01,-10.65), (-22.5,-10.25,20.73,-9.95), (-2.2,-9.55,-0.7,-9.25), (-2.9,-4.35,10.56,-4.05), (-22.5,-3.65,53.785,-3.35), (-8.5,-2.95,44.955,-2.65), (-23.2,-2.25,55.515,-1.95), (-9.9,-1.55,48.415,-1.25), (-23.9,-0.85,57.245,-0.55), (-24.6,-0.15,58.975,0.15)])
R(slot7_tp_en_ctrl, Via3, [(-13.295,-67.605,-13.105,-67.415), (-16.095,-66.905,-15.905,-66.715), (-12.595,-66.205,-12.405,-66.015), (-11.895,-65.505,-11.705,-65.315), (-15.395,-64.805,-15.205,-64.615), (-11.195,-64.105,-11.005,-63.915), (-10.495,-63.405,-10.305,-63.215), (-14.695,-62.705,-14.505,-62.515), (-9.795,-62.005,-9.605,-61.815), (-9.095,-61.305,-8.905,-61.115), (-13.995,-60.605,-13.805,-60.415), (-8.395,-59.905,-8.205,-59.715), (-3.495,-59.205,-3.305,-59.015), (-21.695,-58.505,-21.505,-58.315), (-20.995,-57.805,-20.805,-57.615), (-20.295,-57.105,-20.105,-56.915), (-19.595,-56.405,-19.405,-56.215), (-18.895,-55.705,-18.705,-55.515), (-18.195,-55.005,-18.005,-54.815), (-17.495,-54.305,-17.305,-54.115), (-16.795,-53.605,-16.605,-53.415), (-4.195,-52.905,-4.005,-52.715), (-24.495,-51.505,-24.305,-51.315), (-23.795,-50.805,-23.605,-50.615), (-23.095,-50.105,-22.905,-49.915), (-22.395,-49.405,-22.205,-49.215), (-2.795,-48.005,-2.605,-47.815), (-5.595,-42.195,-5.405,-42.005), (-6.295,-41.495,-6.105,-41.305), (-6.995,-40.795,-6.805,-40.605), (-7.695,-40.095,-7.505,-39.905), (-4.895,-39.395,-4.705,-39.205), (-3.495,-38.695,-3.305,-38.505), (-2.095,-37.995,-1.905,-37.805), (-22.395,-37.295,-22.205,-37.105), (-8.395,-36.595,-8.205,-36.405), (-23.095,-35.895,-22.905,-35.705), (-9.795,-35.195,-9.605,-35.005), (-23.795,-34.495,-23.605,-34.305), (-11.195,-33.795,-11.005,-33.605), (-24.495,-33.095,-24.305,-32.905), (-12.595,-32.395,-12.405,-32.205), (-13.295,-30.895,-13.105,-30.705), (-12.595,-30.195,-12.405,-30.005), (-11.895,-29.495,-11.705,-29.305), (-11.195,-28.795,-11.005,-28.605), (-24.495,-28.095,-24.305,-27.905), (-23.795,-27.395,-23.605,-27.205), (-2.095,-26.695,-1.905,-26.505), (-2.795,-21.495,-2.605,-21.305), (-23.795,-20.795,-23.605,-20.605), (-11.195,-20.095,-11.005,-19.905), (-24.495,-19.395,-24.305,-19.205), (-12.595,-18.695,-12.405,-18.505), (-16.095,-17.195,-15.905,-17.005), (-15.395,-16.495,-15.205,-16.305), (-14.695,-15.795,-14.505,-15.605), (-13.995,-15.095,-13.805,-14.905), (-3.495,-14.395,-3.305,-14.205), (-10.495,-13.695,-10.305,-13.505), (-9.795,-12.995,-9.605,-12.805), (-9.095,-12.295,-8.905,-12.105), (-8.395,-11.595,-8.205,-11.405), (-23.095,-10.895,-22.905,-10.705), (-22.395,-10.195,-22.205,-10.005), (-2.095,-9.495,-1.905,-9.305), (-2.795,-4.295,-2.605,-4.105), (-22.395,-3.595,-22.205,-3.405), (-8.395,-2.895,-8.205,-2.705), (-23.095,-2.195,-22.905,-2.005), (-9.795,-1.495,-9.605,-1.305), (-23.795,-0.795,-23.605,-0.605), (-24.495,-0.095,-24.305,0.095)])
R(slot7_tp_en_ctrl, Metal4, [(-21.75,-68.66,-21.45,-58.26), (-21.05,-68.66,-20.75,-57.56), (-20.35,-68.66,-20.05,-56.86), (-19.65,-68.66,-19.35,-56.16), (-18.95,-68.66,-18.65,-55.46), (-18.25,-68.66,-17.95,-54.76), (-17.55,-68.66,-17.25,-54.06), (-16.85,-68.66,-16.55,-53.36), (-16.15,-68.66,-15.85,-16.95), (-15.45,-68.66,-15.15,-16.25), (-14.75,-68.66,-14.45,-15.55), (-14.05,-68.66,-13.75,-14.85), (-13.35,-68.66,-13.05,-30.65), (-12.65,-68.66,-12.35,-18.45), (-11.95,-68.66,-11.65,-29.25), (-11.25,-68.66,-10.95,-19.85), (-10.55,-68.66,-10.25,-13.45), (-9.85,-68.66,-9.55,-1.25), (-9.15,-68.66,-8.85,-12.05), (-8.45,-68.66,-8.15,-2.65), (-7.75,-68.66,-7.45,-39.85), (-7.05,-68.66,-6.75,-40.55), (-6.35,-68.66,-6.05,-41.25), (-5.65,-68.66,-5.35,-41.95), (-4.95,-68.66,-4.65,-39.15), (-4.25,-68.66,-3.95,-52.66), (-3.55,-68.66,-3.25,-14.15), (-2.85,-68.66,-2.55,-4.05), (-2.15,-68.66,-1.85,-9.25), (-24.55,-51.56,-24.25,0.15), (-23.85,-50.86,-23.55,-0.55), (-23.15,-50.16,-22.85,-1.95), (-22.45,-49.46,-22.15,-3.35)])
A(slot7_tp_en_ctrl, Metal4_pin, -21.75, -68.66, 0.3, 0.65, 29, 1, 0.7, 0)
slot7_tp_en_ctrl.add(gdstk.Reference(slot7_tp_row_pa, (0,-6.58)))
slot7_tp_en_ctrl.add(gdstk.Reference(slot7_tp_row_pr, (53.12,-6.58)))
slot7_tp_en_ctrl.add(gdstk.Reference(slot7_tp_row_pb, (0,-23.78)))
slot7_tp_en_ctrl.add(gdstk.Reference(slot7_tp_row_n, (0,-45.48)))
slot7_tp_en_ctrl.add(gdstk.Label('vdd_3v3', (-2,-68.31), layer=50, texttype=25))
slot7_tp_en_ctrl.add(gdstk.Label('vss_3v3', (-2.7,-68.31), layer=50, texttype=25))
slot7_tp_en_ctrl.add(gdstk.Label('vdd_1v2', (-3.4,-68.31), layer=50, texttype=25))
slot7_tp_en_ctrl.add(gdstk.Label('vss_1v2', (-4.1,-68.31), layer=50, texttype=25))
slot7_tp_en_ctrl.add(gdstk.Label('enable', (-4.8,-68.31), layer=50, texttype=25))
slot7_tp_en_ctrl.add(gdstk.Label('en0_1v2', (-5.5,-68.31), layer=50, texttype=25))
slot7_tp_en_ctrl.add(gdstk.Label('en1_1v2', (-6.2,-68.31), layer=50, texttype=25))
slot7_tp_en_ctrl.add(gdstk.Label('en2_1v2', (-6.9,-68.31), layer=50, texttype=25))
slot7_tp_en_ctrl.add(gdstk.Label('en3_1v2', (-7.6,-68.31), layer=50, texttype=25))
slot7_tp_en_ctrl.add(gdstk.Label('en0', (-8.3,-68.31), layer=50, texttype=25))
slot7_tp_en_ctrl.add(gdstk.Label('en0_b', (-9,-68.31), layer=50, texttype=25))
slot7_tp_en_ctrl.add(gdstk.Label('en1', (-9.7,-68.31), layer=50, texttype=25))
slot7_tp_en_ctrl.add(gdstk.Label('en1_b', (-10.4,-68.31), layer=50, texttype=25))
slot7_tp_en_ctrl.add(gdstk.Label('en2', (-11.1,-68.31), layer=50, texttype=25))
slot7_tp_en_ctrl.add(gdstk.Label('en2_b', (-11.8,-68.31), layer=50, texttype=25))
slot7_tp_en_ctrl.add(gdstk.Label('en3', (-12.5,-68.31), layer=50, texttype=25))
slot7_tp_en_ctrl.add(gdstk.Label('en3_b', (-13.2,-68.31), layer=50, texttype=25))
slot7_tp_en_ctrl.add(gdstk.Label('rb0', (-13.9,-68.31), layer=50, texttype=25))
slot7_tp_en_ctrl.add(gdstk.Label('rb1', (-14.6,-68.31), layer=50, texttype=25))
slot7_tp_en_ctrl.add(gdstk.Label('rb2', (-15.3,-68.31), layer=50, texttype=25))
slot7_tp_en_ctrl.add(gdstk.Label('rb3', (-16,-68.31), layer=50, texttype=25))
slot7_tp_en_ctrl.add(gdstk.Label('lo4', (-16.7,-68.31), layer=50, texttype=25))
slot7_tp_en_ctrl.add(gdstk.Label('lo5', (-17.4,-68.31), layer=50, texttype=25))
slot7_tp_en_ctrl.add(gdstk.Label('lo6', (-18.1,-68.31), layer=50, texttype=25))
slot7_tp_en_ctrl.add(gdstk.Label('lo7', (-18.8,-68.31), layer=50, texttype=25))
slot7_tp_en_ctrl.add(gdstk.Label('lo8', (-19.5,-68.31), layer=50, texttype=25))
slot7_tp_en_ctrl.add(gdstk.Label('lo9', (-20.2,-68.31), layer=50, texttype=25))
slot7_tp_en_ctrl.add(gdstk.Label('lo10', (-20.9,-68.31), layer=50, texttype=25))
slot7_tp_en_ctrl.add(gdstk.Label('lo11', (-21.6,-68.31), layer=50, texttype=25))

lib.write_gds('slot7_tp_en_ctrl.gds')
